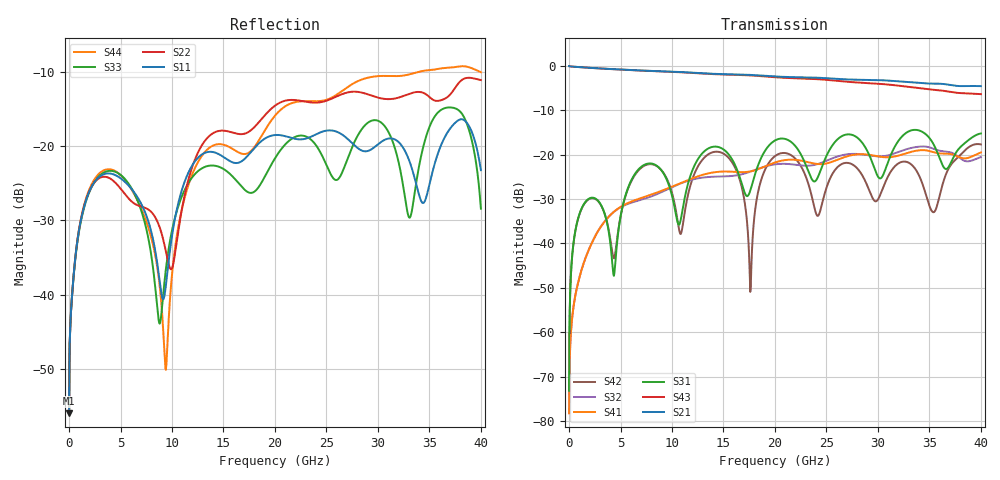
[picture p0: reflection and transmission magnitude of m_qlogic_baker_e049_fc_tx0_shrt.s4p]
! freq	real(S11)	imag(S11)	real(S12)	imag(S12)	real(S13)	imag(S13)
!  real(S14)	imag(S14)
!  real(S21)	imag(S21)	real(S22)	imag(S22)	real(S23)	imag(S23)
!  real(S24)	imag(S24)
!  real(S31)	imag(S31)	real(S32)	imag(S32)	real(S33)	imag(S33)
!  real(S34)	imag(S34)
!  real(S41)	imag(S41)	real(S42)	imag(S42)	real(S43)	imag(S43)
!  real(S44)	imag(S44)
!port1: p1  port2: p2  port3: p3  port4: p4
#  MHz  S  RI  R 50
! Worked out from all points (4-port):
!   8000 points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, 5 MHz to 40 GHz, reference 50 ohm
!   strongest paths, dB at 5 MHz, 10.01 GHz, 20 GHz, 30 GHz, 40 GHz:
!     S21: 0.0, -1.3, -2.3, -3.1, -4.5
!     S43: 0.0, -1.3, -2.5, -4.0, -6.3
!     S31: -73.2, -29.3, -16.8, -24.9, -15.2
!     S41: -78.3, -27.2, -21.7, -20.4, -19.5
!     S32: -78.3, -27.3, -22.2, -20.4, -20.5
!     S42: -73.2, -28.7, -20.3, -30.1, -17.7
!   lowest |S11| = -56.0 dB at 5 MHz (marker M1), VSWR 1.00, Z = 50.2 + j0.00599 ohm
!   |S11| at or under -10 dB: start of sweep to end of sweep
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5  0.00158 5.97e-05  0.9984 -0.00304  0.000216 2.96e-05  -0.000121 -1.18e-05
   0.9984 -0.00304  0.00158 5.89e-05  -0.000121 -1.18e-05  0.000216 2.95e-05
   0.000216 2.96e-05  -0.000121 -1.18e-05  0.00159 6.17e-05  0.9984 -0.00306
   -0.000121 -1.18e-05  0.000216 2.95e-05  0.9984 -0.00306  0.00159 6.08e-05
5935  -0.0466 0.0252  -0.9018 -0.0668  -0.00172 0.0485  0.00186 0.0293
      -0.9018 -0.0668  0.0229 0.0369  0.00249 0.0284  0.00958 0.0463
      -0.00172 0.0485  0.00249 0.0284  -0.0318 0.0437  -0.9007 -0.0516
      0.00186 0.0293  0.00958 0.0463  -0.9007 -0.0516  0.0094 0.0522
9385  0.00978 -0.00554  0.0917 0.8659  0.0548 0.0101  0.0398 -0.00932
      0.0917 0.8659  0.00849 -0.018  0.0391 -0.00805  0.0562 -0.00925
      0.0548 0.0101  0.0391 -0.00805  -0.00475 -0.0137  0.1148 0.8595
      0.0398 -0.00932  0.0562 -0.00925  0.1148 0.8595  -0.00276 -0.00147
12000  -0.0674 -0.0336  0.8362 0.112  -0.000701 0.0677  0.00028 -0.0544
       0.8362 0.112  0.0709 -0.0209  -0.00114 -0.0526  0.0187 0.0508
       -0.000701 0.0677  -0.00114 -0.0526  -0.0551 0.0293  0.8337 0.0829
       0.00028 -0.0544  0.0187 0.0508  0.8337 0.0829  0.056 0.0342
18285  -0.0182 -0.1008  -0.784 -0.0784  0.0169 0.0701  0.00585 0.0681
       -0.784 -0.0784  0.0383 -0.1365  0.000779 0.069  0.0109 0.0327
       0.0169 0.0701  0.000779 0.069  -0.0469 -0.0219  -0.7757 -0.0331
       0.00585 0.0681  0.0109 0.0327  -0.7757 -0.0331  0.0795 -0.0697
24455  0.0656 -0.1061  0.7304 0.0982  0.0374 0.0567  -0.0149 -0.0771
       0.7304 0.0982  -0.0669 -0.1873  0.00131 -0.0808  -0.0175 0.0175
       0.0374 0.0567  0.00131 -0.0808  -0.00393 -0.0899  0.7071 0.0365
       -0.0149 -0.0771  -0.0175 0.0175  0.7071 0.0365  0.0134 -0.2023
40000  -0.069 -0.00436  0.0701 -0.5904  0.174 0.00392  -0.106 0.0074
       0.0701 -0.5904  -0.2147 -0.1803  -0.0932 0.0147  0.0861 0.0986
       0.174 0.00392  -0.0932 0.0147  -0.032 -0.0204  0.0474 -0.4805
       -0.106 0.0074  0.0861 0.0986  0.0474 -0.4805  -0.3158 0.0258
